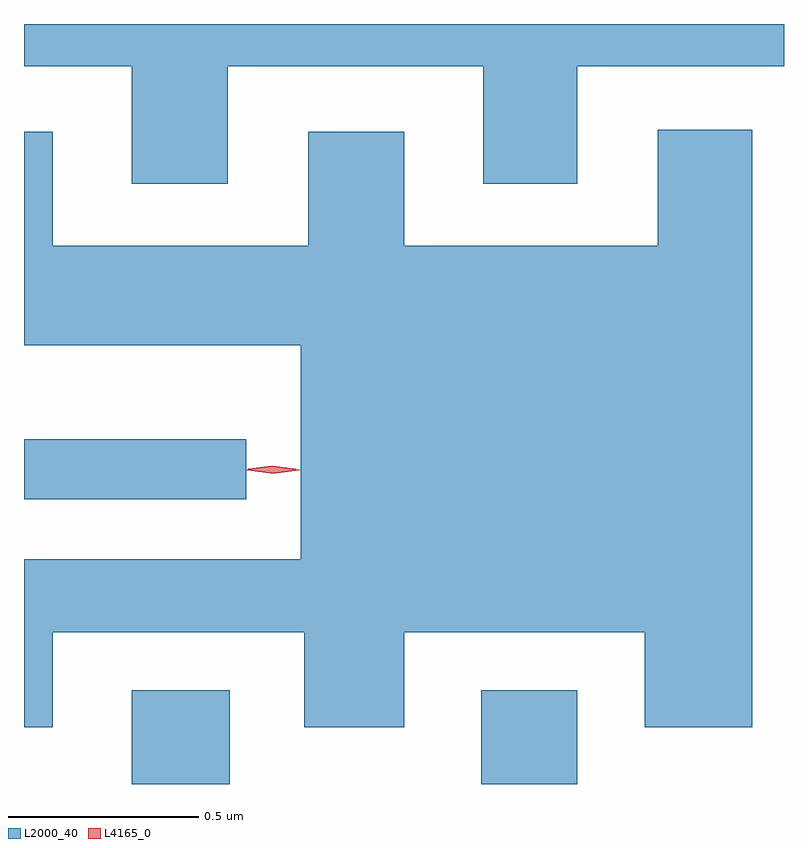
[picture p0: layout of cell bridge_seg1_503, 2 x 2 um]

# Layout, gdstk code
import gdstk
lib = gdstk.Library(unit=1e-6, precision=1e-09)
def R(c, l, rs):  # rectangles x0, y0, x1, y1
    for r in rs: c.add(gdstk.rectangle(r[:2], r[2:], *l))
def P(c, l, *ps):  # polygons
    for p in ps: c.add(gdstk.Polygon(p, *l))
L2000_40 = (2000, 40)
L4165_0 = (4165, 0)

bridge_seg1_503 = lib.new_cell('bridge_seg1_503')
R(bridge_seg1_503, L2000_40, [(609.126,886.587,609.384,886.834), (610.046,886.587,610.299,886.834), (608.843,887.336,609.428,887.494)])
P(bridge_seg1_503, L2000_40, [(609.379,888.476),(610.051,888.476),(610.051,888.166),(610.299,888.166),(610.299,888.476),(610.843,888.476),(610.843,888.587),(608.843,888.587),(608.843,888.476),(609.126,888.476),(609.126,888.166),(609.379,888.166)],
  [(608.919,886.986),(609.581,886.986),(609.581,886.736),(609.844,886.736),(609.844,886.986),(610.476,886.986),(610.476,886.736),(610.759,886.736),(610.759,888.309),(610.511,888.309),(610.511,888.004),(609.844,888.004),(609.844,888.304),(609.591,888.304),(609.591,888.004),(608.919,888.004),(608.919,888.304),(608.843,888.304),(608.843,887.741),(609.571,887.741),(609.571,887.179),(608.843,887.179),(608.843,886.736),(608.919,886.736)])
P(bridge_seg1_503, L4165_0, [(609.495,887.405),(609.433,887.414),(609.433,887.415),(609.433,887.416),(609.495,887.425),(609.557,887.416),(609.558,887.416),(609.557,887.415)],
  [(609.499,887.404),(609.43,887.413),(609.429,887.414),(609.43,887.414),(609.499,887.424),(609.567,887.414),(609.568,887.414),(609.567,887.413)])

lib.write_gds('bridge_seg1_503.gds')
